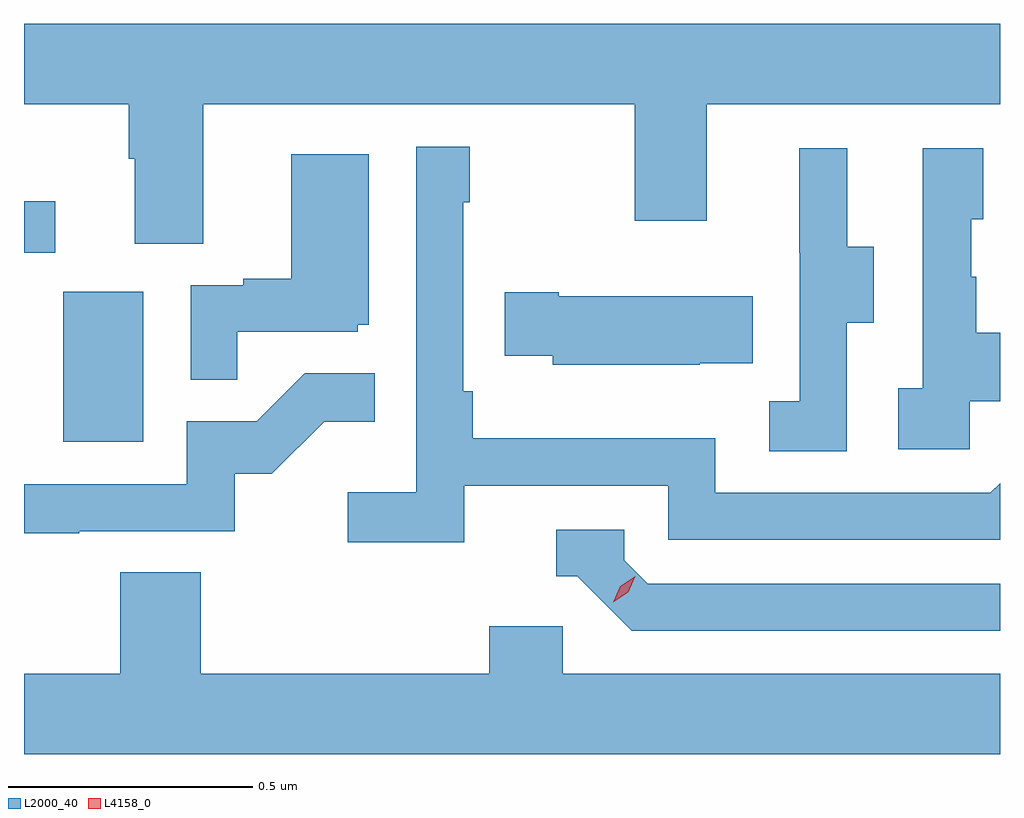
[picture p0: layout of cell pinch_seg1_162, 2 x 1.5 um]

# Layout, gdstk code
import gdstk
lib = gdstk.Library(unit=1e-6, precision=1e-09)
def R(c, l, rs):  # rectangles x0, y0, x1, y1
    for r in rs: c.add(gdstk.rectangle(r[:2], r[2:], *l))
def P(c, l, *ps):  # polygons
    for p in ps: c.add(gdstk.Polygon(p, *l))
L2000_40 = (2000, 40)
L4158_0 = (4158, 0)

pinch_seg1_162 = lib.new_cell('pinch_seg1_162')
R(pinch_seg1_162, L2000_40, [(1081.514,547.044,1081.678,547.351), (1081.434,547.431,1081.498,547.537)])
P(pinch_seg1_162, L2000_40, [(1081.801,547.736),(1082.686,547.736),(1082.686,547.497),(1082.833,547.497),(1082.833,547.736),(1083.434,547.736),(1083.434,547.9),(1081.434,547.9),(1081.434,547.736),(1081.649,547.736),(1081.649,547.624),(1081.661,547.624),(1081.661,547.45),(1081.801,547.45)],
  [(1082.336,546.954),(1082.754,546.954),(1082.754,546.843),(1083.434,546.843),(1083.434,546.959),(1083.414,546.939),(1082.85,546.939),(1082.85,547.051),(1082.354,547.051),(1082.354,547.147),(1082.334,547.147),(1082.334,547.535),(1082.347,547.535),(1082.347,547.648),(1082.238,547.648),(1082.238,546.94),(1082.097,546.94),(1082.097,546.838),(1082.336,546.838)],
  [(1083.372,547.127),(1083.434,547.127),(1083.434,547.267),(1083.385,547.267),(1083.385,547.382),(1083.375,547.382),(1083.375,547.5),(1083.4,547.5),(1083.4,547.645),(1083.276,547.645),(1083.276,547.154),(1083.225,547.154),(1083.225,547.029),(1083.372,547.029)],
  [(1083.12,547.288),(1083.175,547.288),(1083.175,547.443),(1083.121,547.443),(1083.121,547.645),(1083.023,547.645),(1083.023,547.431),(1083.024,547.431),(1083.024,547.127),(1082.961,547.127),(1082.961,547.024),(1083.12,547.024)],
  [(1081.871,547.269),(1082.118,547.269),(1082.118,547.284),(1082.14,547.284),(1082.14,547.633),(1081.982,547.633),(1081.982,547.378),(1081.883,547.378),(1081.883,547.365),(1081.776,547.365),(1081.776,547.171),(1081.871,547.171)],
  [(1082.819,547.205),(1082.927,547.205),(1082.927,547.342),(1082.53,547.342),(1082.53,547.35),(1082.419,547.35),(1082.419,547.22),(1082.517,547.22),(1082.517,547.202),(1082.819,547.202)],
  [(1081.547,546.861),(1081.866,546.861),(1081.866,546.978),(1081.942,546.978),(1082.049,547.085),(1082.153,547.085),(1082.153,547.184),(1082.009,547.184),(1081.911,547.086),(1081.767,547.086),(1081.767,546.957),(1081.434,546.957),(1081.434,546.856),(1081.547,546.856)],
  [(1083.434,546.753),(1082.712,546.753),(1082.664,546.801),(1082.664,546.864),(1082.525,546.864),(1082.525,546.768),(1082.568,546.768),(1082.679,546.657),(1083.434,546.657)],
  [(1083.434,546.568),(1082.538,546.568),(1082.538,546.666),(1082.387,546.666),(1082.387,546.568),(1081.796,546.568),(1081.796,546.776),(1081.631,546.776),(1081.631,546.568),(1081.434,546.568),(1081.434,546.404),(1083.434,546.404)])
P(pinch_seg1_162, L4158_0, [(1082.641,546.715),(1082.641,546.715),(1082.656,546.748),(1082.687,546.768),(1082.687,546.768),(1082.687,546.768),(1082.672,546.735),(1082.641,546.715)])

lib.write_gds('pinch_seg1_162.gds')
